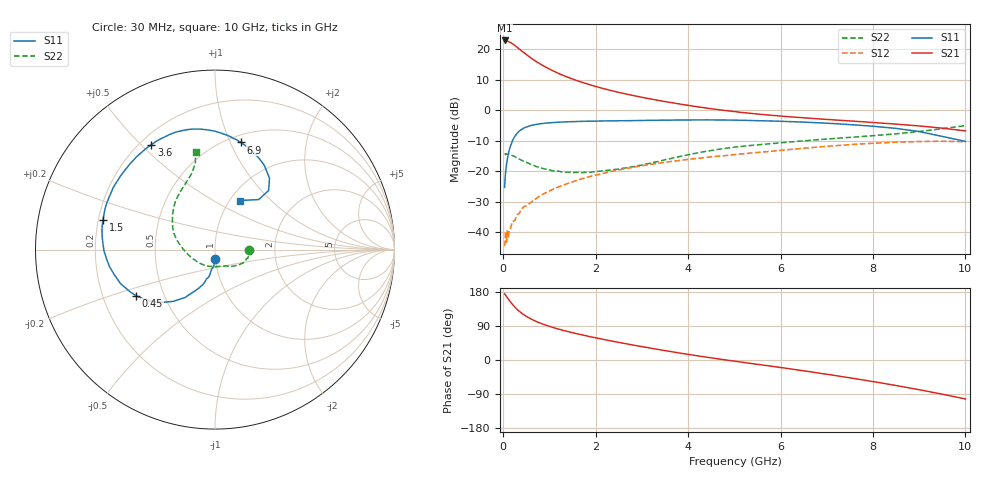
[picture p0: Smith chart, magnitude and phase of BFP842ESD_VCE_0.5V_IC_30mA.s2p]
! (c) 2012  Infineon Technologies AG, Munich
! Infineon Technologies  Discrete & RF Semiconductors
! BFP842ESD
! VCE =  0.5 V,  IC =  30 mA
! Common Emitter S-Parameters:  May 2012
# GHz  S  MA  R  50
!  f  S11  S21  S12  S22
! GHz  MAG  ANG  MAG  ANG  MAG  ANG  MAG  ANG
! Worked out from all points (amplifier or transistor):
!   99 points, 30 MHz to 10 GHz, reference 50 ohm
!   highest |S21| = 22.8 dB at 30 MHz (marker M1)
!   |S21| within 3 dB of that: start of sweep to 364.6 MHz
!   unconditionally stable (mu >= 1): start of sweep to end of sweep
!   at 350 MHz: K = 1.92, MAG = 21.3 dB, |S12| = -33.7 dB
!   at 3.5 GHz: K = 1.48, MAG = 5.9 dB, |S12| = -17.1 dB
!   at 10 GHz: K = 2.17, MAG = -4.3 dB, |S12| = -10.4 dB
!   S11 on the Smith chart (normalised r, x): 30 MHz: 1.00, -0.11; 450 MHz: 0.35, -0.24; 1.5 GHz: 0.22, +0.13; 3.6 GHz: 0.25, +0.54; 6.9 GHz: 0.57, +1.10; 10 GHz: 1.11, +0.67
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0.03  0.054 -89.5  13.78 174.9  0.0059 35.4  0.1873 -0.3
0.06  0.1079 -99.1  13.77 169.2  0.0097 7.7  0.1914 -6.9
0.11  0.1914 -107.6  13.29 160.6  0.0079 39.2  0.1897 -11.8
0.15  0.2485 -115.0  12.85 154.3  0.0112 39.0  0.1837 -15.9
0.2  0.3137 -121.9  12.17 146.8  0.0149 51.5  0.1793 -21.2
0.25  0.3706 -128.9  11.46 139.9  0.0155 51.9  0.1733 -25.4
0.3  0.4155 -135.0  10.64 133.8  0.0192 56.6  0.1628 -29.6
0.35  0.4539 -140.5  9.961 128.3  0.0206 56.4  0.1575 -33.1
0.45  0.5088 -149.6  8.673 119.1  0.0262 59.6  0.1434 -38.5
0.6  0.5595 -160.2  7.134 108.3  0.0309 58.4  0.1293 -45.7
0.8  0.5956 -170.9  5.682 97.3  0.0397 58.9  0.1136 -53.6
1.1  0.625 177.0  4.304 85.0  0.0514 56.4  0.1001 -66.1
1.5  0.6453 165.0  3.222 72.0  0.0667 53.4  0.0944 -84.4
1.7  0.6529 160.0  2.854 66.5  0.0747 51.7  0.0943 -93.8
2.4  0.6649 144.4  2.028 48.8  0.1009 42.8  0.1061 -126.5
3.4  0.6814 124.9  1.42 26.9  0.1364 29.9  0.1468 -166.7
3.6  0.6832 121.2  1.337 22.8  0.1427 26.9  0.1588 -173.2
5.1  0.6805 99.3  0.924 -4.7  0.1895 6.1  0.251 156.8
6.7  0.6245 79.1  0.728 -32.1  0.2436 -18.4  0.3218 136.1
6.9  0.6147 76.2  0.711 -35.8  0.251 -22.0  0.3308 133.9
8.5  0.5004 52.6  0.588 -67.3  0.2973 -55.4  0.4083 112.9
10  0.3067 63.1  0.456 -102.8  0.3029 -96.0  0.5555 101.2
